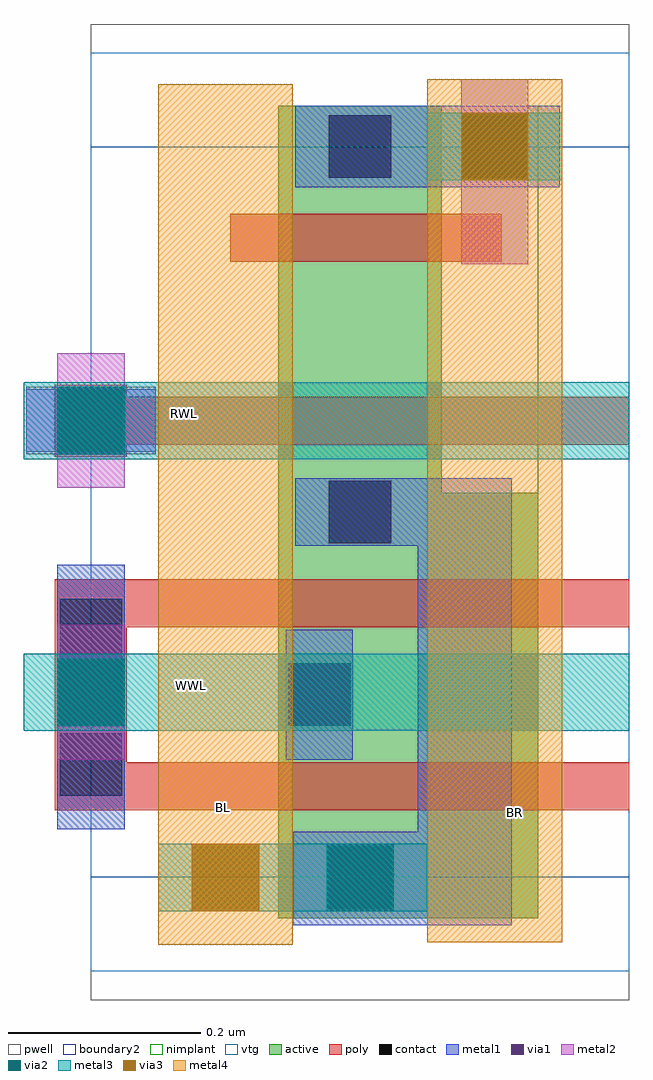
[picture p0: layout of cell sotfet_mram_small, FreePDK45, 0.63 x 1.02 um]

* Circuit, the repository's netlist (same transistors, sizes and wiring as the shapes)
.SUBCKT sotfet_mram_small BL BR RWL WWL gnd
MM0 BL WWL sot_p gnd NMOS_VTG W=270.0n L=50n m=2
MM2 BL RWL sf_drain gnd NMOS_VTG W=170.0n L=50n m=1
MM1 sf_drain virtual_gate BR gnd NMOS_VTG W=170.0n L=50n m=1
.ENDS

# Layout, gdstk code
from math import pi, radians
import gdstk
lib = gdstk.Library(unit=1e-6, precision=5e-10)
def R(c, l, rs):  # rectangles x0, y0, x1, y1
    for r in rs: c.add(gdstk.rectangle(r[:2], r[2:], *l))
def A(c, l, x, y, w, h, nx, ny, dx, dy):  # array of equal rectangles
    R(c, l, [(x+i*dx, y+j*dy, x+i*dx+w, y+j*dy+h) for i in range(nx) for j in range(ny)])
active = (1, 0)
pwell = (2, 0)
nimplant = (4, 0)
vtg = (6, 0)
poly = (9, 0)
contact = (10, 0)
metal1 = (11, 0)
via1 = (12, 0)
metal2 = (13, 0)
via2 = (14, 0)
metal3 = (15, 0)
via3 = (16, 0)
metal4 = (17, 0)
boundary2 = (239, 0)

m2_m1_cdns_623036876230 = lib.new_cell('M2_M1_CDNS_623036876230')
R(m2_m1_cdns_623036876230, metal1, [(-0.0325,-0.0675,0.0325,0.0675)])
R(m2_m1_cdns_623036876230, via1, [(-0.0325,-0.0325,0.0325,0.0325)])
R(m2_m1_cdns_623036876230, metal2, [(-0.035,-0.0675,0.035,0.0675)])

m3_m2_cdns_623036876231 = lib.new_cell('M3_M2_CDNS_623036876231')
R(m3_m2_cdns_623036876231, metal2, [(-0.035,-0.07,0.035,0.07)])
R(m3_m2_cdns_623036876231, via2, [(-0.035,-0.035,0.035,0.035)])
R(m3_m2_cdns_623036876231, metal3, [(-0.035,-0.07,0.035,0.07)])

m4_m3_cdns_623036876232 = lib.new_cell('M4_M3_CDNS_623036876232')
R(m4_m3_cdns_623036876232, metal3, [(-0.035,-0.07,0.035,0.07)])
R(m4_m3_cdns_623036876232, via3, [(-0.035,-0.035,0.035,0.035)])
R(m4_m3_cdns_623036876232, metal4, [(-0.07,-0.07,0.07,0.07)])

m1_poly_cdns_62303687623 = lib.new_cell('M1_POLY_CDNS_623036876233')
R(m1_poly_cdns_62303687623, poly, [(-0.0375,-0.0375,0.0375,0.0375)])
R(m1_poly_cdns_62303687623, contact, [(-0.0325,-0.0325,0.0325,0.0325)])
R(m1_poly_cdns_62303687623, metal1, [(-0.0325,-0.0675,0.0325,0.0675)])

m2_m1_cdns_623036876234 = lib.new_cell('M2_M1_CDNS_623036876234')
R(m2_m1_cdns_623036876234, metal1, [(-0.0325,-0.0675,0.0325,0.0675)])
R(m2_m1_cdns_623036876234, via1, [(-0.0325,-0.0325,0.0325,0.0325)])
R(m2_m1_cdns_623036876234, metal2, [(-0.0675,-0.035,0.0675,0.035)])

m3_m2_cdns_623036876235 = lib.new_cell('M3_M2_CDNS_623036876235')
R(m3_m2_cdns_623036876235, metal2, [(-0.035,-0.07,0.035,0.07)])
R(m3_m2_cdns_623036876235, via2, [(-0.035,-0.035,0.035,0.035)])
R(m3_m2_cdns_623036876235, metal3, [(-0.07,-0.035,0.07,0.035)])

sotfet_mram_small = lib.new_cell('sotfet_mram_small')
R(sotfet_mram_small, active, [(0.195,-0.0425,0.365,0.8025), (0.195,-0.0425,0.465,0.4)])
R(sotfet_mram_small, pwell, [(0,-0.1275,0.56,0.8875)])
R(sotfet_mram_small, nimplant, [(0.195,-0.0425,0.465,0.8025)])
R(sotfet_mram_small, vtg, [(0,-0.0975,0.56,0.8575)])
A(sotfet_mram_small, poly, -0.0375, 0.07, 0.5975, 0.05, 1, 3, 0, 0.19)
R(sotfet_mram_small, poly, [(-0.0375,0.07,0.0375,0.31), (0.145,0.64,0.4275,0.69)])
A(sotfet_mram_small, contact, 0.2475, -0.0325, 0.065, 0.065, 1, 3, 0, 0.38)
R(sotfet_mram_small, contact, [(-0.0325,0.085,0.0325,0.15), (0.205,0.1575,0.27,0.2225), (-0.0325,0.225,0.0325,0.29)])
R(sotfet_mram_small, metal1, [(0.21,-0.05,0.4375,0.0475), (0.34,-0.03,0.4375,0.415), (-0.035,0.05,0.035,0.325), (0.2025,0.1225,0.2725,0.2575), (0.2125,0.345,0.365,0.415), (0.2125,0.7175,0.4875,0.8025)])
R(sotfet_mram_small, metal2, [(0.385,0.6375,0.455,0.7925)])
R(sotfet_mram_small, metal3, [(-0.07,0.1525,0.56,0.2325), (-0.07,0.435,0.56,0.515)])
R(sotfet_mram_small, metal4, [(0.35,-0.0675,0.49,0.825), (0.07,-0.0375,0.21,0.825)])
R(sotfet_mram_small, boundary2, [(0,0,0.56,0.76)])
sotfet_mram_small.add(gdstk.Reference(m2_m1_cdns_623036876230, (0,0.475), rotation=3*pi/2))
sotfet_mram_small.add(gdstk.Reference(m2_m1_cdns_623036876230, (0,0.1925)))
sotfet_mram_small.add(gdstk.Reference(m2_m1_cdns_623036876230, (0.2775,0), rotation=pi/2))
sotfet_mram_small.add(gdstk.Reference(m3_m2_cdns_623036876231, (0.28,0), rotation=pi/2))
sotfet_mram_small.add(gdstk.Reference(m4_m3_cdns_623036876232, (0.14,0), rotation=pi/2))
sotfet_mram_small.add(gdstk.Reference(m4_m3_cdns_623036876232, (0.42,0.76), rotation=pi/2))
sotfet_mram_small.add(gdstk.Reference(m1_poly_cdns_62303687623, (0,0.475), rotation=pi/2))
sotfet_mram_small.add(gdstk.Reference(m2_m1_cdns_623036876234, (0.42,0.76), rotation=pi/2))
sotfet_mram_small.add(gdstk.Reference(m3_m2_cdns_623036876235, (0,0.1925)))
sotfet_mram_small.add(gdstk.Reference(m3_m2_cdns_623036876235, (0.42,0.76)))
sotfet_mram_small.add(gdstk.Reference(m3_m2_cdns_623036876235, (0,0.475)))
sotfet_mram_small.add(gdstk.Label('BL', (0.1375,0.0725), layer=17, texttype=0))
sotfet_mram_small.add(gdstk.Label('BR', (0.44,0.0675), layer=17, texttype=0))
sotfet_mram_small.add(gdstk.Label('WWL', (0.105,0.2), layer=15, texttype=0))
sotfet_mram_small.add(gdstk.Label('RWL', (0.0975,0.4825), layer=15, texttype=0))

lib.write_gds('sotfet_mram_small.gds')
